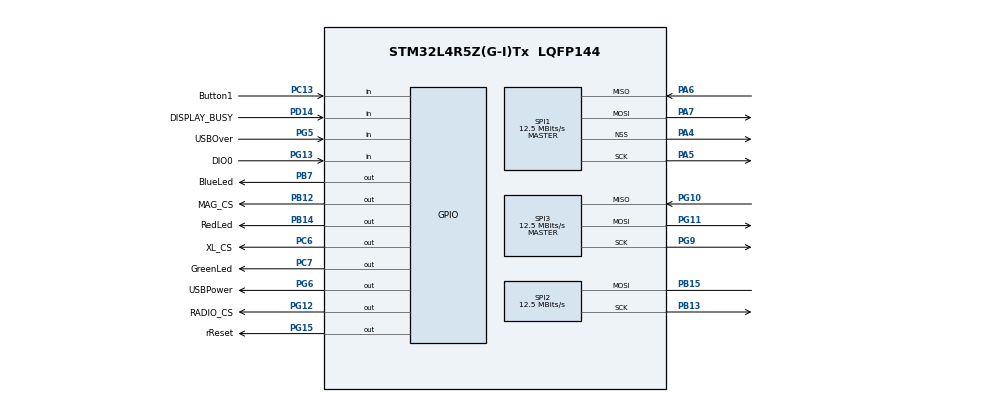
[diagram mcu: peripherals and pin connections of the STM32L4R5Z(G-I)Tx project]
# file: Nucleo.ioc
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Dma.Request0=SPI1_TX
Dma.SPI1_TX.0.Direction=DMA_MEMORY_TO_PERIPH
Dma.SPI1_TX.0.EventEnable=DISABLE
Dma.SPI1_TX.0.Instance=DMA1_Channel3
Dma.SPI1_TX.0.MemDataAlignment=DMA_MDATAALIGN_BYTE
Dma.SPI1_TX.0.MemInc=DMA_MINC_ENABLE
Dma.SPI1_TX.0.Mode=DMA_NORMAL
Dma.SPI1_TX.0.PeriphDataAlignment=DMA_PDATAALIGN_BYTE
Dma.SPI1_TX.0.PeriphInc=DMA_PINC_DISABLE
Dma.SPI1_TX.0.Polarity=HAL_DMAMUX_REQUEST_GEN_RISING
Dma.SPI1_TX.0.Priority=DMA_PRIORITY_LOW
Dma.SPI1_TX.0.RequestNumber=1
Dma.SPI1_TX.0.SyncEnable=DISABLE
Dma.SPI1_TX.0.SyncPolarity=HAL_DMAMUX_SYNC_NO_EVENT
Dma.SPI1_TX.0.SyncRequestNumber=1
Mcu.Family=STM32L4
Mcu.Name=STM32L4R5Z(G-I)Tx
Mcu.Package=LQFP144
NVIC.DMA1_Channel3_IRQn=true\:0\:0\:false\:false\:true\:false
NVIC.PriorityGroup=NVIC_PRIORITYGROUP_4
PA13\ (JTMS/SWDIO).GPIO_Label=TMS
PA13\ (JTMS/SWDIO).Mode=Trace_Asynchronous_SW
PA13\ (JTMS/SWDIO).Signal=SYS_JTMS-SWDIO
PA14\ (JTCK/SWCLK).GPIO_Label=TCK
PA14\ (JTCK/SWCLK).Mode=Trace_Asynchronous_SW
PA14\ (JTCK/SWCLK).Signal=SYS_JTCK-SWCLK
PA4.Mode=NSS_Signal_Hard_Output
PA4.Signal=SPI1_NSS
PA5.Mode=Full_Duplex_Master
PA5.Signal=SPI1_SCK
PA6.Mode=Full_Duplex_Master
PA6.Signal=SPI1_MISO
PA7.Mode=Full_Duplex_Master
PA7.Signal=SPI1_MOSI
PB12.GPIO_Label=MAG_CS
PB12.Signal=GPIO_Output
PB13.Mode=Simplex_Bidirectional_Master
PB13.Signal=SPI2_SCK
PB14.GPIO_Label=RedLed
PB14.GPIO_Speed=GPIO_SPEED_FREQ_LOW
PB14.Signal=GPIO_Output
PB15.Mode=Simplex_Bidirectional_Master
PB15.Signal=SPI2_MOSI
PB3\ (JTDO/TRACESWO).GPIO_Label=SWO
PB3\ (JTDO/TRACESWO).Mode=Trace_Asynchronous_SW
PB3\ (JTDO/TRACESWO).Signal=SYS_JTDO-SWO
PB7.GPIO_Label=BlueLed
PB7.GPIO_Speed=GPIO_SPEED_FREQ_LOW
PB7.Signal=GPIO_Output
PC10.Signal=SDMMC1_D2
PC11.Signal=SDMMC1_D3
PC12.Signal=SDMMC1_CK
PC13.GPIO_Label=Button1
PC13.Signal=GPIO_Input
PC14-OSC32_IN\ (PC14).Signal=RCC_OSC32_IN
PC15-OSC32_OUT\ (PC15).Signal=RCC_OSC32_OUT
PC6.GPIO_Label=XL_CS
PC6.Signal=GPIO_Output
PC7.GPIO_Label=GreenLed
PC7.GPIO_Speed=GPIO_SPEED_FREQ_LOW
PC7.Signal=GPIO_Output
PC8.Signal=SDMMC1_D0
PC9.GPIO_PuPd=GPIO_NOPULL
PC9.Signal=SDMMC1_D1
PD14.GPIO_Label=DISPLAY_BUSY
PD14.GPIO_PuPd=GPIO_PULLUP
PD14.Signal=GPIO_Input
PD2.Signal=SDMMC1_CMD
PD8.GPIO_Label=STLK_RX [STM32F103CBT6_PA3]
PD8.Signal=USART3_TX
PD9.GPIO_Label=STLK_TX [STM32F103CBT6_PA2]
PD9.Signal=USART3_RX
PG10.Mode=Full_Duplex_Master
PG10.Signal=SPI3_MISO
PG11.Mode=Full_Duplex_Master
PG11.Signal=SPI3_MOSI
PG12.GPIO_Label=RADIO_CS
PG12.Signal=GPIO_Output
PG13.GPIO_Label=DIO0
PG13.Signal=GPIO_Input
PG15.GPIO_Label=rReset
PG15.Signal=GPIO_Output
PG5.GPIO_Label=USBOver
PG5.Signal=GPIO_Input
PG6.GPIO_Label=USBPower
PG6.Signal=GPIO_Output
PG7.GPIO_Label=STLINK_TX
PG7.Signal=LPUART1_TX
PG8.GPIO_Label=STLINK_RX
PG8.Signal=LPUART1_RX
PG9.Mode=Full_Duplex_Master
PG9.Signal=SPI3_SCK
ProjectManager.HeapSize=0x200
ProjectManager.StackSize=0x400
ProjectManager.TargetToolchain=MDK-ARM V5
RCC.48MHZClocksFreq_Value=24000000
RCC.ADCFreq_Value=32000000
RCC.AHBFreq_Value=100000000
RCC.APB1Freq_Value=100000000
RCC.APB1TimFreq_Value=100000000
RCC.APB2Freq_Value=100000000
RCC.APB2TimFreq_Value=100000000
RCC.CK48CLockSelection=RCC_USBCLKSOURCE_PLL
RCC.CortexFreq_Value=100000000
RCC.HCLKFreq_Value=100000000
RCC.HSE_VALUE=8000000
RCC.HSI48_VALUE=48000000
RCC.HSI_VALUE=16000000
RCC.LSE_VALUE=32768
RCC.MSIClockRange=RCC_MSIRANGE_11
RCC.MSI_VALUE=48000000
RCC.PLLM1=2
RCC.PLLM2=2
RCC.PLLM3=2
RCC.PLLMUL=RCC_PLL_MUL9
RCC.PLLN=25
RCC.PLLP=RCC_PLLP_DIV4
RCC.PLLQ=RCC_PLLQ_DIV8
RCC.PLLSourceVirtual=RCC_PLLSOURCE_HSI
RCC.PRESCALERUSB=RCC_USBCLKSOURCE_PLL_DIV1_5
RCC.SYSCLKFreq_VALUE=100000000
RCC.SYSCLKSource=RCC_SYSCLKSOURCE_PLLCLK
RCC.SYSCLKSourceVirtual=RCC_SYSCLKSOURCE_PLLCLK
RCC.USBFreq_Value=25000000
RCC.VCOOutputFreq_Value=200000000
SPI1.BaudRatePrescaler=SPI_BAUDRATEPRESCALER_8
SPI1.CalculateBaudRate=12.5 MBits/s
SPI1.DataSize=SPI_DATASIZE_8BIT
SPI1.Direction=SPI_DIRECTION_2LINES
SPI1.Mode=SPI_MODE_MASTER
SPI1.VirtualNSS=VM_NSSHARD
SPI1.VirtualType=VM_MASTER
SPI2.BaudRatePrescaler=SPI_BAUDRATEPRESCALER_8
SPI2.CLKPhase=SPI_PHASE_2EDGE
SPI2.CLKPolarity=SPI_POLARITY_HIGH
SPI2.CalculateBaudRate=12.5 MBits/s
SPI2.DataSize=SPI_DATASIZE_8BIT
SPI2.Direction=SPI_DIRECTION_1LINE
SPI2.Mode=SPI_MODE_MASTER
SPI2.VirtualType=VM_MASTER
SPI3.BaudRatePrescaler=SPI_BAUDRATEPRESCALER_8
SPI3.CalculateBaudRate=12.5 MBits/s
SPI3.DataSize=SPI_DATASIZE_8BIT
SPI3.Direction=SPI_DIRECTION_2LINES
SPI3.Mode=SPI_MODE_MASTER
SPI3.VirtualType=VM_MASTER
VP_RNG_VS_RNG.Mode=RNG_Activate
board=NUCLEO-L4R5ZI

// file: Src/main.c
/**
  ******************************************************************************
  * @file           : main.c
  * @brief          : Main program body
  ******************************************************************************
  ** This notice applies to any and all portions of this file
  * that are not between comment pairs USER CODE BEGIN and
  * USER CODE END. Other portions of this file, whether
  * inserted by the user or by software development tools
  * are owned by their respective copyright owners.
  *
  * COPYRIGHT(c) 2018 STMicroelectronics
  *
  * Redistribution and use in source and binary forms, with or without modification,
  * are permitted provided that the following conditions are met:
  *   1. Redistributions of source code must retain the above copyright notice,
  *      this list of conditions and the following disclaimer.
  *   2. Redistributions in binary form must reproduce the above copyright notice,
  *      this list of conditions and the following disclaimer in the documentation
  *      and/or other materials provided with the distribution.
  *   3. Neither the name of STMicroelectronics nor the names of its contributors
  *      may be used to endorse or promote products derived from this software
  *      without specific prior written permission.
  *
  * THIS SOFTWARE IS PROVIDED BY THE COPYRIGHT HOLDERS AND CONTRIBUTORS "AS IS"
  * AND ANY EXPRESS OR IMPLIED WARRANTIES, INCLUDING, BUT NOT LIMITED TO, THE
  * IMPLIED WARRANTIES OF MERCHANTABILITY AND FITNESS FOR A PARTICULAR PURPOSE ARE
  * DISCLAIMED. IN NO EVENT SHALL THE COPYRIGHT HOLDER OR CONTRIBUTORS BE LIABLE
  * FOR ANY DIRECT, INDIRECT, INCIDENTAL, SPECIAL, EXEMPLARY, OR CONSEQUENTIAL
  * DAMAGES (INCLUDING, BUT NOT LIMITED TO, PROCUREMENT OF SUBSTITUTE GOODS OR
  * SERVICES; LOSS OF USE, DATA, OR PROFITS; OR BUSINESS INTERRUPTION) HOWEVER
  * CAUSED AND ON ANY THEORY OF LIABILITY, WHETHER IN CONTRACT, STRICT LIABILITY,
  * OR TORT (INCLUDING NEGLIGENCE OR OTHERWISE) ARISING IN ANY WAY OUT OF THE USE
  * OF THIS SOFTWARE, EVEN IF ADVISED OF THE POSSIBILITY OF SUCH DAMAGE.
  *
  ******************************************************************************
  */
#include "main.h"
#include "dma.h"
#include "rng.h"
#include "spi.h"
#include "gpio.h"

/* USER CODE BEGIN Includes */
//#include "usart1.h"
#include "lsm303c.h"
#include "sx1278.h"

#include "types.h"
#include "sd.h"
#include "text.h"

#include "screen.h"
#include "graph.h"

/* USER CODE END Includes */

/* USER CODE BEGIN PV */
ui8  MagnetoReg;
char TxBuffer[64];
ui8 RxLen;
ui8 RxData[64];
si8 *Fields[16];
ui8 GPSmobile;
ui8 GPSData[64];

ui8 RadioVersion;

/* USER CODE END PV */

static void LL_Init(void);
void SystemClock_Config(void);

/* USER CODE BEGIN PFP */
/* Private function prototypes -----------------------------------------------*/

/* USER CODE END PFP */

int main(void)
{

  /* MCU Configuration----------------------------------------------------------*/

  /* Reset of all peripherals, Initializes the Flash interface and the Systick. */
  LL_Init();

  /* Configure the system clock */
  SystemClock_Config();

  /* USER CODE BEGIN SysInit */
//  SysTick_Config(SystemCoreClock / 1000);

  /* USER CODE END SysInit */

  /* Initialize all configured peripherals */
  MX_GPIO_Init();
  MX_DMA_Init();
  MX_SPI1_Init();
  MX_RNG_Init();
  MX_SPI2_Init();
  MX_SPI3_Init();
  /* USER CODE BEGIN 2 */

 SET_BIT(SPI3->CR2, SPI_CR2_FRXTH);                   // 1/4 Fifo = 8-bit
 SET_BIT(SPI3->CR1, SPI_CR1_BIDIOE);                  // Tx direction, clock off
 SET_BIT(SPI3->CR1, SPI_CR1_SPE);                     // SPI3 On
 //ScreenInit(0);
 //Usart1RxOn();
 //RadioInit();
 //RadioVersion = RadioRead(REG_LR_VERSION);
  if ( SDInit() )
	{
    LL_GPIO_SetOutputPin(RedLed_GPIO_Port, RedLed_Pin);
	}
  else
	{
//		if( 0 == SDTest() )
			LL_GPIO_SetOutputPin(GreenLed_GPIO_Port, GreenLed_Pin);
	}

 GPSmobile = 0;
 RadioRxOn();

  /* USER CODE END 2 */

  /* Infinite loop */
  /* USER CODE BEGIN WHILE */
 while (1)
  {
   if ( (GPIOG->IDR & DIO0_Pin) )
    {
     switch ( RadioRegim )
      {
       case rgRadioRx :                 //Rx Radio ready
         LL_GPIO_SetOutputPin(BlueLed_GPIO_Port, BlueLed_Pin);
         RxLen = RadioRxLen();
         RadioReadPacket(RadioBuffer, RxLen);
         RadioBuffer[RxLen++] = RadioRSSI();
         RadioBuffer[RxLen++] = RadioStatus;

         if ( !GPSmobile )
          {SPI1Write(RadioBuffer,RxLen);
           RadioRxOn();
          }
         else
          {
          }
         LL_GPIO_ResetOutputPin(BlueLed_GPIO_Port, BlueLed_Pin);
       break;

       case rgRadioTx :                 //Tx Radio done
         LL_GPIO_ResetOutputPin(RedLed_GPIO_Port, RedLed_Pin);
         RadioStatus = RadioRead(LR_RegIrqFlags);

         RadioLoRaClearIrq();                      //Clear irq
         RadioStandby();

         if ( GPSmobile )
           RadioTimeOut  = 50;
         else
           RadioRxOn();

       break;
      }
    }

   if ( Button1_GPIO_Port->IDR & Button1_Pin )
    {
     LL_GPIO_ResetOutputPin(RedLed_GPIO_Port, RedLed_Pin);
     LL_GPIO_SetOutputPin(BlueLed_GPIO_Port, BlueLed_Pin);

/* 	$$$magneto off
     sprintf(TxBuffer,"X=%+8d Y=%+8d Z=%+7d",100,200,300);
     SPI1Write((ui8*)TxBuffer,32);
     if ( SDTest() )
       LL_GPIO_SetOutputPin(RedLed_GPIO_Port, RedLed_Pin);
     else
       LL_GPIO_SetOutputPin(GreenLed_GPIO_Port, GreenLed_Pin);
*/

     static ui8 color = 0;
     ScreenInit(color);
     FillRect(1,1, 130, 130, color+1);
     FillRect(50,50, 130, 130, color+2);
     FillRect(100,100, 130, 130,color+3);
     Line(200,200,100,100,color+4);
		 Circle(120, 200, 50, color);
     PrintStr("Hello World!", 3, 21, FONT_NORMAL, color+4);
     ScreenTransmit();
     color++;
     color &= 7;

     LL_GPIO_ResetOutputPin(BlueLed_GPIO_Port, BlueLed_Pin);
     while (Button1_GPIO_Port->IDR & Button1_Pin )
      {}
     LL_GPIO_ResetOutputPin(GreenLed_GPIO_Port, GreenLed_Pin);
    }

  /* USER CODE END WHILE */

  }

}

static void LL_Init(void)
{

  LL_APB2_GRP1_EnableClock(LL_APB2_GRP1_PERIPH_SYSCFG);
  LL_APB1_GRP1_EnableClock(LL_APB1_GRP1_PERIPH_PWR);

  NVIC_SetPriorityGrouping(NVIC_PRIORITYGROUP_4);

  /* System interrupt init*/
  /* MemoryManagement_IRQn interrupt configuration */
  NVIC_SetPriority(MemoryManagement_IRQn, NVIC_EncodePriority(NVIC_GetPriorityGrouping(),0, 0));
  /* BusFault_IRQn interrupt configuration */
  NVIC_SetPriority(BusFault_IRQn, NVIC_EncodePriority(NVIC_GetPriorityGrouping(),0, 0));
  /* UsageFault_IRQn interrupt configuration */
  NVIC_SetPriority(UsageFault_IRQn, NVIC_EncodePriority(NVIC_GetPriorityGrouping(),0, 0));
  /* SVCall_IRQn interrupt configuration */
  NVIC_SetPriority(SVCall_IRQn, NVIC_EncodePriority(NVIC_GetPriorityGrouping(),0, 0));
  /* DebugMonitor_IRQn interrupt configuration */
  NVIC_SetPriority(DebugMonitor_IRQn, NVIC_EncodePriority(NVIC_GetPriorityGrouping(),0, 0));
  /* PendSV_IRQn interrupt configuration */
  NVIC_SetPriority(PendSV_IRQn, NVIC_EncodePriority(NVIC_GetPriorityGrouping(),0, 0));
  /* SysTick_IRQn interrupt configuration */
  NVIC_SetPriority(SysTick_IRQn, NVIC_EncodePriority(NVIC_GetPriorityGrouping(),0, 0));

}

void SystemClock_Config(void)
{

  LL_FLASH_SetLatency(LL_FLASH_LATENCY_4);

  if(LL_FLASH_GetLatency() != LL_FLASH_LATENCY_4)
  {
  Error_Handler();
  }
  LL_PWR_SetRegulVoltageScaling(LL_PWR_REGU_VOLTAGE_SCALE1);

  LL_PWR_EnableRange1BoostMode();

  LL_RCC_HSI_Enable();

   /* Wait till HSI is ready */
  while(LL_RCC_HSI_IsReady() != 1)
  {

  }
  LL_RCC_HSI_SetCalibTrimming(64);

  LL_RCC_PLL_ConfigDomain_SYS(LL_RCC_PLLSOURCE_HSI, LL_RCC_PLLM_DIV_2, 25, LL_RCC_PLLR_DIV_2);

  LL_RCC_PLL_ConfigDomain_48M(LL_RCC_PLLSOURCE_HSI, LL_RCC_PLLM_DIV_2, 25, LL_RCC_PLLQ_DIV_8);

  LL_RCC_PLL_EnableDomain_48M();

  LL_RCC_PLL_EnableDomain_SYS();

  LL_RCC_PLL_Enable();

   /* Wait till PLL is ready */
  while(LL_RCC_PLL_IsReady() != 1)
  {

  }

   /* Intermediate AHB prescaler 2 when target frequency clock is higher than 80 MHz */
   LL_RCC_SetAHBPrescaler(LL_RCC_SYSCLK_DIV_2);

  LL_RCC_SetSysClkSource(LL_RCC_SYS_CLKSOURCE_PLL);

   /* Wait till System clock is ready */
  while(LL_RCC_GetSysClkSource() != LL_RCC_SYS_CLKSOURCE_STATUS_PLL)
  {

  }

  /* Insure 1µs transition state at intermediate medium speed clock based on DWT*/
  CoreDebug->DEMCR |= CoreDebug_DEMCR_TRCENA_Msk;

  DWT->CTRL |= DWT_CTRL_CYCCNTENA_Msk;
  DWT->CYCCNT = 0;
  while(DWT->CYCCNT < 100);

  LL_RCC_SetAHBPrescaler(LL_RCC_SYSCLK_DIV_1);

  LL_RCC_SetAPB1Prescaler(LL_RCC_APB1_DIV_1);

  LL_RCC_SetAPB2Prescaler(LL_RCC_APB2_DIV_1);

  LL_Init1msTick(100000000);

  LL_SYSTICK_SetClkSource(LL_SYSTICK_CLKSOURCE_HCLK);

  LL_SetSystemCoreClock(100000000);

  LL_RCC_SetRNGClockSource(LL_RCC_RNG_CLKSOURCE_PLL);

  /* SysTick_IRQn interrupt configuration */
  NVIC_SetPriority(SysTick_IRQn, NVIC_EncodePriority(NVIC_GetPriorityGrouping(),0, 0));
}

void _Error_Handler(char *file, int line)
{
  while(1)
  {
  }
}

/************************ (C) COPYRIGHT STMicroelectronics *****END OF FILE****/
